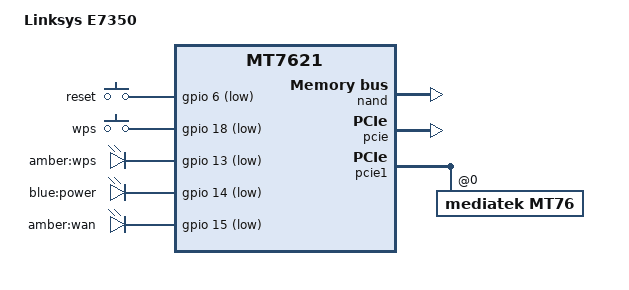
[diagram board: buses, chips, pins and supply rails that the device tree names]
// SPDX-License-Identifier: GPL-2.0-or-later OR MIT

#include "mt7621.dtsi"

#include <dt-bindings/gpio/gpio.h>
#include <dt-bindings/input/input.h>
#include <dt-bindings/leds/common.h>

/ {
	compatible = "linksys,e7350", "mediatek,mt7621-soc";
	model = "Linksys E7350";

	aliases {
		led-boot = &led_power;
		led-failsafe = &led_power;
		led-running = &led_power;
		led-upgrade = &led_power;
	};

	chosen {
		bootargs = "console=ttyS0,115200";
	};

	keys {
		compatible = "gpio-keys";

		reset {
			label = "reset";
			gpios = <&gpio 6 GPIO_ACTIVE_LOW>;
			linux,code = <KEY_RESTART>;
		};

		wps {
			label = "wps";
			gpios = <&gpio 18 GPIO_ACTIVE_LOW>;
			linux,code = <KEY_WPS_BUTTON>;
		};
	};

	leds {
		compatible = "gpio-leds";

		wps {
			label = "amber:wps";
			gpios = <&gpio 13 GPIO_ACTIVE_LOW>;
		};

		led_power: power {
			label = "blue:power";
			gpios = <&gpio 14 GPIO_ACTIVE_LOW>;
			default-state = "on";
		};

		wan {
			label = "amber:wan";
			gpios = <&gpio 15 GPIO_ACTIVE_LOW>;
		};
	};
};

&nand {
	status = "okay";

	partitions {
		compatible = "fixed-partitions";
		#address-cells = <1>;
		#size-cells = <1>;

		partition@0 {
			label = "boot";
			reg = <0x0 0x80000>;
			read-only;
		};

		partition@80000 {
			label = "u_env";
			reg = <0x80000 0x80000>;
		};

		factory: partition@100000 {
			label = "factory";
			reg = <0x100000 0x80000>;
			read-only;
		};

		partition@180000 {
			label = "kernel";
			reg = <0x180000 0x400000>;
		};

		partition@580000 {
			label = "ubi";
			reg = <0x580000 0x2c00000>;
		};

		partition@3180000 {
			label = "alt_firmware";
			reg = <0x3180000 0x3000000>;
			read-only;
		};

		partition@6180000 {
			label = "cbtinfo";
			reg = <0x6180000 0x80000>;
			read-only;
		};
	};
};

&state_default {
	gpio {
		groups = "uart2", "uart3", "jtag";
		function = "gpio";
	};
};

&pcie {
	status = "okay";
};

&pcie1 {
	mt76@0,0 {
		compatible = "mediatek,mt76";
		reg = <0x0000 0 0 0 0>;
		mediatek,mtd-eeprom = <&factory 0x0000>;
	};
};

&switch0 {
	ports {
		port@0 {
			status = "okay";
			label = "wan";
		};

		port@1 {
			status = "okay";
			label = "lan4";
		};

		port@2 {
			status = "okay";
			label = "lan3";
		};

		port@3 {
			status = "okay";
			label = "lan2";
		};

		port@4 {
			status = "okay";
			label = "lan1";
		};
	};
};
